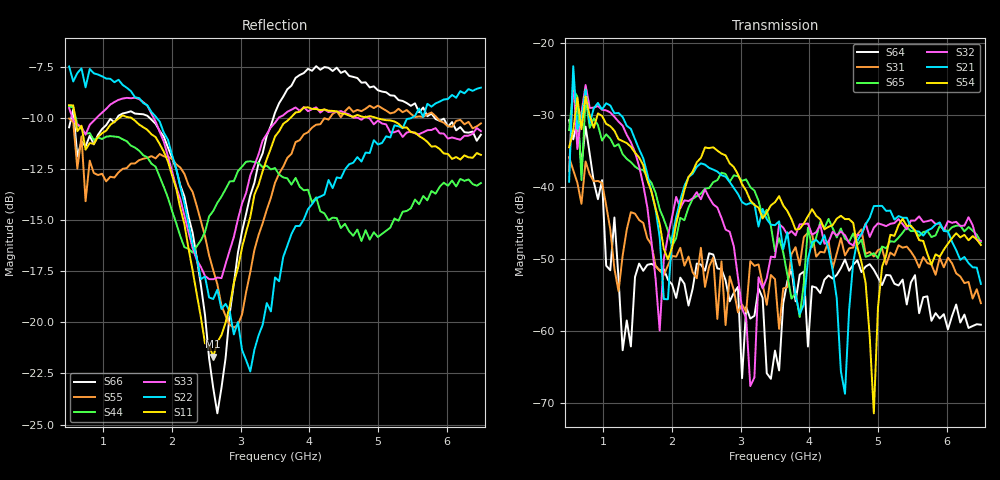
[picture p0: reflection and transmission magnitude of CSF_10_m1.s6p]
!Keysight Technologies,M9804A,MY58100912,A.14.10.03
!Date: Thursday, April 27, 2023 10:28:33
!Correction: S11(C  6-Port  )
!S12(C  6-Port  )
!S13(C  6-Port  )
!S14(C  6-Port  )
!S15(C  6-Port  )
!S16(C  6-Port  )
!S21(C  6-Port  )
!S22(C  6-Port  )
!S23(C  6-Port  )
!S24(C  6-Port  )
!S25(C  6-Port  )
!S26(C  6-Port  )
!S31(C  6-Port  )
!S32(C  6-Port  )
!S33(C  6-Port  )
!S34(C  6-Port  )
!S35(C  6-Port  )
!S36(C  6-Port  )
!S41(C  6-Port  )
!S42(C  6-Port  )
!S43(C  6-Port  )
!S44(C  6-Port  )
!S45(C  6-Port  )
!S46(C  6-Port  )
!S51(C  6-Port  )
!S52(C  6-Port  )
!S53(C  6-Port  )
!S54(C  6-Port  )
!S55(C  6-Port  )
!S56(C  6-Port  )
!S61(C  6-Port  )
!S62(C  6-Port  )
!S63(C  6-Port  )
!S64(C  6-Port  )
!S65(C  6-Port  )
!S66(C  6-Port  )
!S6P File: Measurement: :
# Hz S  RI  R 50
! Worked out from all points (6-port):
!   101 points, 500 MHz to 6.5 GHz, reference 50 ohm
!   strongest paths, dB at 500 MHz, 2 GHz, 3.5 GHz, 5 GHz, 6.5 GHz:
!     S54: -34.5, -48.4, -42.1, -56.7, -48.0
!     S21: -39.3, -47.0, -45.3, -42.6, -53.4
!     S32: -37.8, -44.2, -49.7, -45.0, -47.5
!     S65: -32.1, -48.1, -48.9, -49.8, -47.7
!     S31: -35.9, -49.6, -52.8, -48.8, -56.1
!     S64: -30.7, -53.5, -62.7, -52.5, -59.1
!   lowest |S11| = -21.7 dB at 2.6 GHz (marker M1), VSWR 1.18, Z = 42.7 + j2.1 ohm
!   |S11| at or under -10 dB: 588.9 MHz to 1.234 GHz (645 MHz wide, 70.8 % of centre); 1.405 GHz to 3.725 GHz (2.32 GHz wide, 90.5 % of centre); 4.972 GHz to end of sweep
